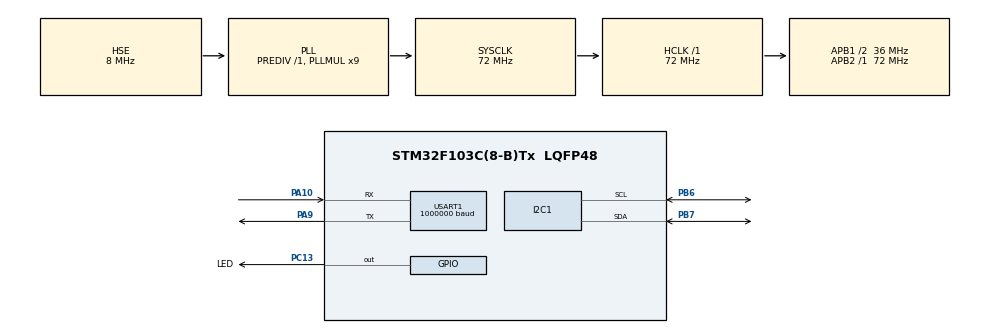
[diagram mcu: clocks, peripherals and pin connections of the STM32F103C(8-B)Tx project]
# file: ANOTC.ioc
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Dma.I2C1_TX.0.Direction=DMA_MEMORY_TO_PERIPH
Dma.I2C1_TX.0.Instance=DMA1_Channel6
Dma.I2C1_TX.0.MemDataAlignment=DMA_MDATAALIGN_BYTE
Dma.I2C1_TX.0.MemInc=DMA_MINC_ENABLE
Dma.I2C1_TX.0.Mode=DMA_NORMAL
Dma.I2C1_TX.0.PeriphDataAlignment=DMA_PDATAALIGN_BYTE
Dma.I2C1_TX.0.PeriphInc=DMA_PINC_DISABLE
Dma.I2C1_TX.0.Priority=DMA_PRIORITY_LOW
Dma.Request0=I2C1_TX
Dma.Request1=USART1_TX
Dma.Request2=USART1_RX
Dma.USART1_RX.2.Direction=DMA_PERIPH_TO_MEMORY
Dma.USART1_RX.2.Instance=DMA1_Channel5
Dma.USART1_RX.2.MemDataAlignment=DMA_MDATAALIGN_BYTE
Dma.USART1_RX.2.MemInc=DMA_MINC_ENABLE
Dma.USART1_RX.2.Mode=DMA_NORMAL
Dma.USART1_RX.2.PeriphDataAlignment=DMA_PDATAALIGN_BYTE
Dma.USART1_RX.2.PeriphInc=DMA_PINC_DISABLE
Dma.USART1_RX.2.Priority=DMA_PRIORITY_LOW
Dma.USART1_TX.1.Direction=DMA_MEMORY_TO_PERIPH
Dma.USART1_TX.1.Instance=DMA1_Channel4
Dma.USART1_TX.1.MemDataAlignment=DMA_MDATAALIGN_BYTE
Dma.USART1_TX.1.MemInc=DMA_MINC_ENABLE
Dma.USART1_TX.1.Mode=DMA_NORMAL
Dma.USART1_TX.1.PeriphDataAlignment=DMA_PDATAALIGN_BYTE
Dma.USART1_TX.1.PeriphInc=DMA_PINC_DISABLE
Dma.USART1_TX.1.Priority=DMA_PRIORITY_LOW
I2C1.I2C_Mode=I2C_Fast
Mcu.Family=STM32F1
Mcu.Name=STM32F103C(8-B)Tx
Mcu.Package=LQFP48
NVIC.DMA1_Channel4_IRQn=true\:0\:0\:false\:false\:true\:false\:true\:true
NVIC.DMA1_Channel5_IRQn=true\:0\:0\:false\:false\:true\:false\:true\:true
NVIC.DMA1_Channel6_IRQn=true\:0\:0\:false\:false\:true\:false\:true\:true
NVIC.I2C1_EV_IRQn=true\:0\:0\:true\:false\:true\:true\:true\:true
NVIC.PriorityGroup=NVIC_PRIORITYGROUP_3
NVIC.TIM4_IRQn=true\:7\:1\:true\:false\:true\:true\:true\:true
NVIC.USART1_IRQn=true\:3\:0\:true\:false\:true\:true\:true\:true
PA10.Mode=Asynchronous
PA10.Signal=USART1_RX
PA9.Mode=Asynchronous
PA9.Signal=USART1_TX
PB6.Mode=I2C
PB6.Signal=I2C1_SCL
PB7.Mode=I2C
PB7.Signal=I2C1_SDA
PC13-TAMPER-RTC.GPIO_Label=LED
PC13-TAMPER-RTC.GPIO_PuPd=GPIO_PULLUP
PC13-TAMPER-RTC.GPIO_Speed=GPIO_SPEED_FREQ_HIGH
PC13-TAMPER-RTC.PinState=GPIO_PIN_SET
PC13-TAMPER-RTC.Signal=GPIO_Output
PD0-OSC_IN.Mode=HSE-External-Oscillator
PD0-OSC_IN.Signal=RCC_OSC_IN
PD1-OSC_OUT.Mode=HSE-External-Oscillator
PD1-OSC_OUT.Signal=RCC_OSC_OUT
ProjectManager.HeapSize=0x200
ProjectManager.StackSize=0x400
ProjectManager.TargetToolchain=MDK-ARM V5.32
RCC.AHBFreq_Value=72000000
RCC.APB1CLKDivider=RCC_HCLK_DIV2
RCC.APB1Freq_Value=36000000
RCC.APB1TimFreq_Value=72000000
RCC.APB2Freq_Value=72000000
RCC.APB2TimFreq_Value=72000000
RCC.HCLKFreq_Value=72000000
RCC.PLLMUL=RCC_PLL_MUL9
RCC.PLLSourceVirtual=RCC_PLLSOURCE_HSE
RCC.SYSCLKFreq_VALUE=72000000
RCC.SYSCLKSource=RCC_SYSCLKSOURCE_PLLCLK
RCC.USBFreq_Value=72000000
TIM4.Period=10-1
TIM4.Prescaler=7200-1
USART1.BaudRate=1000000
USART1.VirtualMode=VM_ASYNC
VP_SYS_VS_ND.Mode=No_Debug
VP_TIM4_VS_ClockSourceINT.Mode=Internal
board=custom

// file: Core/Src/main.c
/* USER CODE BEGIN Header */
/**
  ******************************************************************************
  * @file           : main.c
  * @brief          : Main program body
  ******************************************************************************
  * @attention
  *
  * Copyright (c) 2023 STMicroelectronics.
  * All rights reserved.
  *
  * This software is licensed under terms that can be found in the LICENSE file
  * in the root directory of this software component.
  * If no LICENSE file comes with this software, it is provided AS-IS.
  *
  ******************************************************************************
  */
/* USER CODE END Header */
#include "main.h"
#include "dma.h"
#include "i2c.h"
#include "tim.h"
#include "usart.h"
#include "gpio.h"

void SystemClock_Config(void);

/* USER CODE BEGIN 0 */
extern int32_t parLis_PID[ANOPTV8_PARNUM];
void WS_Debug(char *p,...){
static char formatBuf[128];
  /*  格式化数据  */
    va_list ap;
		va_start(ap,p);
		vsprintf(formatBuf,p,ap);
		va_end(ap);

	  //  信息输出接口
	  HAL_UART_Transmit_DMA(&huart1,(uint8_t *)formatBuf,strlen(formatBuf));
}
/* USER CODE END 0 */

int main(void)
{

  /* MCU Configuration--------------------------------------------------------*/

  /* Reset of all peripherals, Initializes the Flash interface and the Systick. */
  HAL_Init();

  /* Configure the system clock */
  SystemClock_Config();

  /* Initialize all configured peripherals */
  MX_GPIO_Init();
  MX_DMA_Init();
  MX_USART1_UART_Init();
  MX_TIM4_Init();
  MX_I2C1_Init();
  /* USER CODE BEGIN 2 */
  HAL_TIM_Base_Start_IT(&htim4);

	WS_OLED_Init();

  /* USER CODE END 2 */

  /* Infinite loop */
  /* USER CODE BEGIN WHILE */
  while (1)
  {
		AnoPTv8TxFrameF2();
		WS_OLED_Printf(0,2,0,"tPid_pos_P:%d",parLis_PID[0]);
		WS_OLED_Printf(0,3,0,"tPid_pos_I:%d",parLis_PID[1]);
		WS_OLED_Printf(0,4,0,"tPid_pos_D:%d",parLis_PID[2]);
    UpdateScreenDisplay();

    /* USER CODE END WHILE */

  }
}

void SystemClock_Config(void)
{
  RCC_OscInitTypeDef RCC_OscInitStruct = {0};
  RCC_ClkInitTypeDef RCC_ClkInitStruct = {0};

  /** Initializes the RCC Oscillators according to the specified parameters
  * in the RCC_OscInitTypeDef structure.
  */
  RCC_OscInitStruct.OscillatorType = RCC_OSCILLATORTYPE_HSE;
  RCC_OscInitStruct.HSEState = RCC_HSE_ON;
  RCC_OscInitStruct.HSEPredivValue = RCC_HSE_PREDIV_DIV1;
  RCC_OscInitStruct.HSIState = RCC_HSI_ON;
  RCC_OscInitStruct.PLL.PLLState = RCC_PLL_ON;
  RCC_OscInitStruct.PLL.PLLSource = RCC_PLLSOURCE_HSE;
  RCC_OscInitStruct.PLL.PLLMUL = RCC_PLL_MUL9;
  if (HAL_RCC_OscConfig(&RCC_OscInitStruct) != HAL_OK)
  {
    Error_Handler();
  }

  /** Initializes the CPU, AHB and APB buses clocks
  */
  RCC_ClkInitStruct.ClockType = RCC_CLOCKTYPE_HCLK|RCC_CLOCKTYPE_SYSCLK
                              |RCC_CLOCKTYPE_PCLK1|RCC_CLOCKTYPE_PCLK2;
  RCC_ClkInitStruct.SYSCLKSource = RCC_SYSCLKSOURCE_PLLCLK;
  RCC_ClkInitStruct.AHBCLKDivider = RCC_SYSCLK_DIV1;
  RCC_ClkInitStruct.APB1CLKDivider = RCC_HCLK_DIV2;
  RCC_ClkInitStruct.APB2CLKDivider = RCC_HCLK_DIV1;

  if (HAL_RCC_ClockConfig(&RCC_ClkInitStruct, FLASH_LATENCY_2) != HAL_OK)
  {
    Error_Handler();
  }
}

void Error_Handler(void)
{
  __disable_irq();
  while (1)
  {
  }
}
